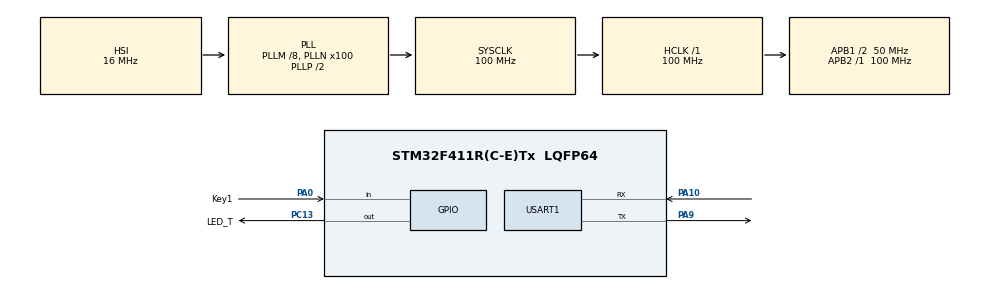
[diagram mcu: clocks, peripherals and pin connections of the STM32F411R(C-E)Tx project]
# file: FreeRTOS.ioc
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FREERTOS.Tasks01=defaultTask,8,128,StartDefaultTask,Default,NULL,Dynamic,NULL,NULL
Mcu.Family=STM32F4
Mcu.Name=STM32F411R(C-E)Tx
Mcu.Package=LQFP64
NVIC.PriorityGroup=NVIC_PRIORITYGROUP_4
NVIC.TIM1_TRG_COM_TIM11_IRQn=true\:15\:0\:false\:false\:true\:false\:false\:true\:true
NVIC.TimeBase=TIM1_TRG_COM_TIM11_IRQn
NVIC.TimeBaseIP=TIM11
NVIC.USART1_IRQn=true\:5\:0\:false\:false\:true\:true\:true\:true\:true
PA0-WKUP.GPIO_Label=Key1
PA0-WKUP.GPIO_PuPd=GPIO_PULLUP
PA0-WKUP.Signal=GPIO_Input
PA10.Mode=Asynchronous
PA10.Signal=USART1_RX
PA13.Mode=Serial_Wire
PA13.Signal=SYS_JTMS-SWDIO
PA14.Mode=Serial_Wire
PA14.Signal=SYS_JTCK-SWCLK
PA9.Mode=Asynchronous
PA9.Signal=USART1_TX
PC13-ANTI_TAMP.GPIO_Label=LED_T
PC13-ANTI_TAMP.Signal=GPIO_Output
PC14-OSC32_IN.Mode=LSE-External-Oscillator
PC14-OSC32_IN.Signal=RCC_OSC32_IN
PC15-OSC32_OUT.Mode=LSE-External-Oscillator
PC15-OSC32_OUT.Signal=RCC_OSC32_OUT
PH0\ -\ OSC_IN.Mode=HSE-External-Oscillator
PH0\ -\ OSC_IN.Signal=RCC_OSC_IN
PH1\ -\ OSC_OUT.Mode=HSE-External-Oscillator
PH1\ -\ OSC_OUT.Signal=RCC_OSC_OUT
ProjectManager.HeapSize=0x200
ProjectManager.StackSize=0x400
ProjectManager.TargetToolchain=MDK-ARM V5.32
RCC.48MHZClocksFreq_Value=50000000
RCC.AHBFreq_Value=100000000
RCC.APB1CLKDivider=RCC_HCLK_DIV2
RCC.APB1Freq_Value=50000000
RCC.APB1TimFreq_Value=100000000
RCC.APB2Freq_Value=100000000
RCC.APB2TimFreq_Value=100000000
RCC.CortexFreq_Value=100000000
RCC.HCLKFreq_Value=100000000
RCC.HSE_VALUE=25000000
RCC.HSI_VALUE=16000000
RCC.PLLM=8
RCC.PLLN=100
RCC.SYSCLKFreq_VALUE=100000000
RCC.SYSCLKSource=RCC_SYSCLKSOURCE_PLLCLK
RCC.VCOOutputFreq_Value=200000000
USART1.VirtualMode=VM_ASYNC
VP_FREERTOS_VS_CMSIS_V2.Mode=CMSIS_V2
VP_SYS_VS_tim11.Mode=TIM11
board=custom

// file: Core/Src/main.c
/* USER CODE BEGIN Header */
/**
  ******************************************************************************
  * @file           : main.c
  * @brief          : Main program body
  ******************************************************************************
  * @attention
  *
  * Copyright (c) 2026 STMicroelectronics.
  * All rights reserved.
  *
  * This software is licensed under terms that can be found in the LICENSE file
  * in the root directory of this software component.
  * If no LICENSE file comes with this software, it is provided AS-IS.
  *
  ******************************************************************************
  */
/* USER CODE END Header */
#include "main.h"
#include "cmsis_os.h"
#include "usart.h"
#include "gpio.h"

void SystemClock_Config(void);
void MX_FREERTOS_Init(void);

int main(void)
{

  /* MCU Configuration--------------------------------------------------------*/

  /* Reset of all peripherals, Initializes the Flash interface and the Systick. */
  HAL_Init();

  /* Configure the system clock */
  SystemClock_Config();

  /* Initialize all configured peripherals */
  MX_GPIO_Init();
  MX_USART1_UART_Init();

  /* Init scheduler */
  osKernelInitialize();  /* Call init function for freertos objects (in cmsis_os2.c) */
  MX_FREERTOS_Init();

  /* Start scheduler */
  osKernelStart();

  /* We should never get here as control is now taken by the scheduler */

  /* Infinite loop */
  while (1)
  {

  }
}

void SystemClock_Config(void)
{
  RCC_OscInitTypeDef RCC_OscInitStruct = {0};
  RCC_ClkInitTypeDef RCC_ClkInitStruct = {0};

  /** Configure the main internal regulator output voltage
  */
  __HAL_RCC_PWR_CLK_ENABLE();
  __HAL_PWR_VOLTAGESCALING_CONFIG(PWR_REGULATOR_VOLTAGE_SCALE1);

  /** Initializes the RCC Oscillators according to the specified parameters
  * in the RCC_OscInitTypeDef structure.
  */
  RCC_OscInitStruct.OscillatorType = RCC_OSCILLATORTYPE_HSI;
  RCC_OscInitStruct.HSIState = RCC_HSI_ON;
  RCC_OscInitStruct.HSICalibrationValue = RCC_HSICALIBRATION_DEFAULT;
  RCC_OscInitStruct.PLL.PLLState = RCC_PLL_ON;
  RCC_OscInitStruct.PLL.PLLSource = RCC_PLLSOURCE_HSI;
  RCC_OscInitStruct.PLL.PLLM = 8;
  RCC_OscInitStruct.PLL.PLLN = 100;
  RCC_OscInitStruct.PLL.PLLP = RCC_PLLP_DIV2;
  RCC_OscInitStruct.PLL.PLLQ = 4;
  if (HAL_RCC_OscConfig(&RCC_OscInitStruct) != HAL_OK)
  {
    Error_Handler();
  }

  /** Initializes the CPU, AHB and APB buses clocks
  */
  RCC_ClkInitStruct.ClockType = RCC_CLOCKTYPE_HCLK|RCC_CLOCKTYPE_SYSCLK
                              |RCC_CLOCKTYPE_PCLK1|RCC_CLOCKTYPE_PCLK2;
  RCC_ClkInitStruct.SYSCLKSource = RCC_SYSCLKSOURCE_PLLCLK;
  RCC_ClkInitStruct.AHBCLKDivider = RCC_SYSCLK_DIV1;
  RCC_ClkInitStruct.APB1CLKDivider = RCC_HCLK_DIV2;
  RCC_ClkInitStruct.APB2CLKDivider = RCC_HCLK_DIV1;

  if (HAL_RCC_ClockConfig(&RCC_ClkInitStruct, FLASH_LATENCY_3) != HAL_OK)
  {
    Error_Handler();
  }
}

void HAL_TIM_PeriodElapsedCallback(TIM_HandleTypeDef *htim)
{
  if (htim->Instance == TIM11)
  {
    HAL_IncTick();
  }
}

void Error_Handler(void)
{
  __disable_irq();
  while (1)
  {
  }
}

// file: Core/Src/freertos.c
/* USER CODE BEGIN Header */
/**
  ******************************************************************************
  * File Name          : freertos.c
  * Description        : Code for freertos applications
  ******************************************************************************
  * @attention
  *
  * Copyright (c) 2026 STMicroelectronics.
  * All rights reserved.
  *
  * This software is licensed under terms that can be found in the LICENSE file
  * in the root directory of this software component.
  * If no LICENSE file comes with this software, it is provided AS-IS.
  *
  ******************************************************************************
  */
/* USER CODE END Header */

#include "FreeRTOS.h"
#include "task.h"
#include "main.h"
#include "cmsis_os.h"

/* USER CODE BEGIN Includes */
#include "stdio.h"
/* USER CODE END Includes */

/* USER CODE BEGIN Variables */
// 高优先级任务：与低优先级任务抢同一把互斥锁
osThreadId_t task_HHandle;
const osThreadAttr_t task_H_attributes = {
  .name = "task_H",
  .stack_size = 128 * 4,
  .priority = (osPriority_t) osPriorityLow2,
};
// 中优先级任务：不抢锁，观察锁被占用时它的调度情况
osThreadId_t task_MHandle;
const osThreadAttr_t task_M_attributes = {
  .name = "task_M",
  .stack_size = 128 * 4,
  .priority = (osPriority_t) osPriorityLow1,
};
// 低优先级任务：与高优先级任务抢同一把互斥锁
osThreadId_t task_LHandle;
const osThreadAttr_t task_L_attributes = {
  .name = "task_L",
  .stack_size = 128 * 4,
  .priority = (osPriority_t) osPriorityLow,
};
// 互斥锁句柄
osMutexId_t Mutex01Handle;
const osMutexAttr_t Mutex01_attributes = {
  .name = "Mutex01"
};
// 二值信号量句柄（本演示未使用，保留创建以对比互斥锁）
osSemaphoreId_t BinarySem01Handle;
const osSemaphoreAttr_t BinarySem01_attributes = {
  .name = "BinarySem01"
};

/* USER CODE END Variables */
/* Definitions for defaultTask */
osThreadId_t defaultTaskHandle;
const osThreadAttr_t defaultTask_attributes = {
  .name = "defaultTask",
  .stack_size = 128 * 4,
  .priority = (osPriority_t) osPriorityLow,
};

/* USER CODE BEGIN FunctionPrototypes */
void Task_H_Func(void *argument);
void Task_M_Func(void *argument);
void Task_L_Func(void *argument);
/* USER CODE END FunctionPrototypes */

void StartDefaultTask(void *argument);

void MX_FREERTOS_Init(void); /* (MISRA C 2004 rule 8.1) */

void MX_FREERTOS_Init(void) {

  /* USER CODE BEGIN RTOS_MUTEX */
  /* add mutexes, ... */
  // 创建互斥锁（供高/低优先级任务争夺）
  Mutex01Handle = osMutexNew(&Mutex01_attributes);
  /* USER CODE END RTOS_MUTEX */

  /* USER CODE BEGIN RTOS_SEMAPHORES */
  /* add semaphores, ... */
  // 创建二值信号量（仅保留创建，本演示用互斥锁）
  BinarySem01Handle = osSemaphoreNew(1, 1, &BinarySem01_attributes);
  /* USER CODE END RTOS_SEMAPHORES */

  /* Create the thread(s) */
  /* creation of defaultTask */
  defaultTaskHandle = osThreadNew(StartDefaultTask, NULL, &defaultTask_attributes);

  /* USER CODE BEGIN RTOS_THREADS */
  /* add threads, ... */
  // 创建三个任务，高/低任务抢同一把互斥锁
  task_HHandle = osThreadNew(Task_H_Func, NULL, &task_H_attributes);
  task_MHandle = osThreadNew(Task_M_Func, NULL, &task_M_attributes);
  task_LHandle = osThreadNew(Task_L_Func, NULL, &task_L_attributes);
  /* USER CODE END RTOS_THREADS */

}

void StartDefaultTask(void *argument)
{
  /* USER CODE BEGIN StartDefaultTask */
  /* Infinite loop */
  for(;;)
  {
    HAL_GPIO_TogglePin(LED_T_GPIO_Port, LED_T_Pin);
    osDelay(500);
  }
  /* USER CODE END StartDefaultTask */
}

/* USER CODE BEGIN Application */
// 高优先级任务：抢锁后忙等 1 秒（HAL_Delay 不释放 CPU），演示互斥独占
void Task_H_Func(void *argument)
{
  /* USER CODE BEGIN Task_H_Func */
  /* Infinite loop */
  for(;;)
  {
    // 获取互斥锁（被占用则阻塞等待）
    // osSemaphoreAcquire(BinarySem01Handle, osWaitForever);
    osMutexAcquire(Mutex01Handle, osWaitForever);
    printf("High Task get mutex, start\r\n");
    // HAL_Delay 忙等模拟持锁工作，期间其他任务无法获得 CPU
    HAL_Delay(1000);
    printf("High Task give mutex, end\r\n");
    // 释放互斥锁
    // osSemaphoreRelease(BinarySem01Handle);
    osMutexRelease(Mutex01Handle);
    osDelay(1000);
  }
  /* USER CODE END Task_H_Func */
}

// 中优先级任务：不抢锁，观察锁被占用时它是否还能运行
void Task_M_Func(void *argument)
{
  /* USER CODE BEGIN Task_M_Func */
  /* Infinite loop */
  for(;;)
  {
    printf("Middle Task use cpu, but do nothing\r\n");
    osDelay(1000);
  }
  /* USER CODE END Task_M_Func */
}

// 低优先级任务：与高优先级任务抢同一把互斥锁，忙等 3 秒
void Task_L_Func(void *argument)
{
  /* USER CODE BEGIN Task_L_Func */
  /* Infinite loop */
  for(;;)
  {
    // 获取互斥锁（被占用则阻塞等待）
    // osSemaphoreAcquire(BinarySem01Handle, osWaitForever);
    osMutexAcquire(Mutex01Handle, osWaitForever);
    printf("Low Task get mutex, start\r\n");
    // HAL_Delay 忙等模拟持锁工作，期间其他任务无法获得 CPU
    HAL_Delay(3000);
    printf("Low Task give mutex, end\r\n");
    // 释放互斥锁
    // osSemaphoreRelease(BinarySem01Handle);
    osMutexRelease(Mutex01Handle);
    osDelay(1000);
  }
  /* USER CODE END Task_L_Func */
}
/* USER CODE END Application */
